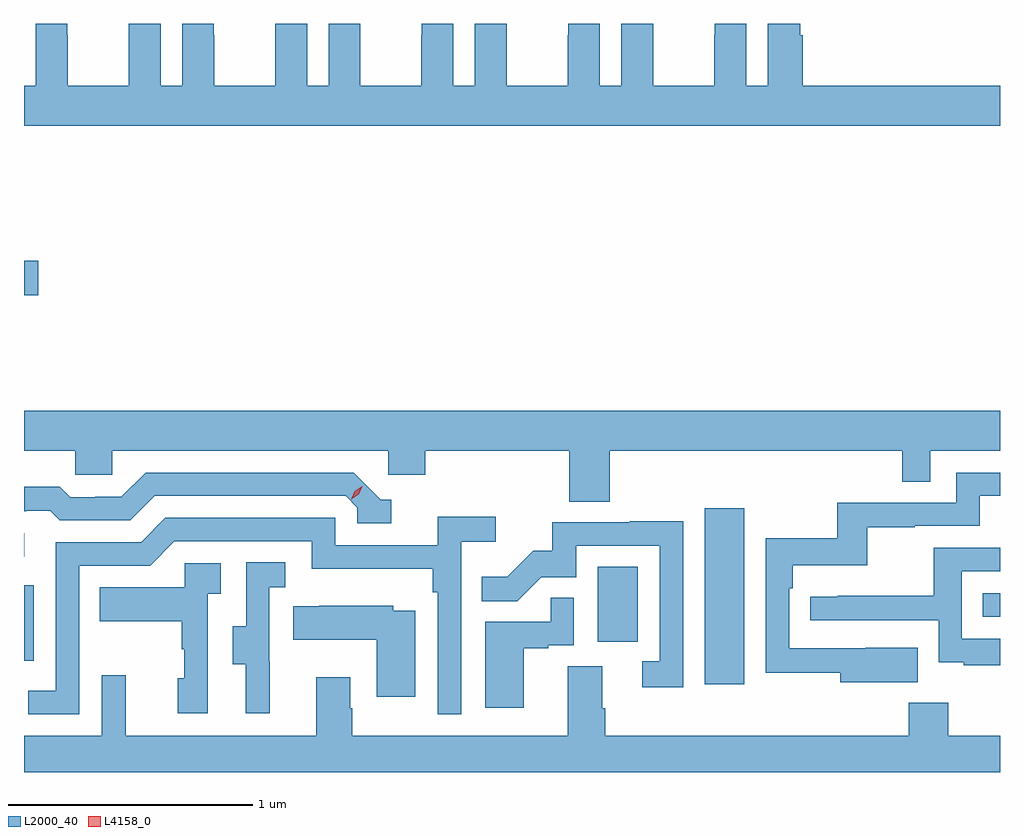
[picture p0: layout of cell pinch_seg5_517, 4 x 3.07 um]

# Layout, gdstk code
import gdstk
lib = gdstk.Library(unit=1e-6, precision=1e-09)
def R(c, l, rs):  # rectangles x0, y0, x1, y1
    for r in rs: c.add(gdstk.rectangle(r[:2], r[2:], *l))
def P(c, l, *ps):  # polygons
    for p in ps: c.add(gdstk.Polygon(p, *l))
L2000_40 = (2000, 40)
L4158_0 = (4158, 0)

pinch_seg5_517 = lib.new_cell('pinch_seg5_517')
R(pinch_seg5_517, L2000_40, [(926.594,833.16,926.755,833.881), (923.804,833.256,923.844,833.566), (926.156,833.334,926.32,833.641), (927.733,833.436,927.804,833.532), (923.804,833.682,923.806,833.778), (923.804,834.754,923.863,834.896)])
P(pinch_seg5_517, L2000_40, [(924.452,835.866),(924.452,835.612),(924.364,835.612),(924.364,835.866),(924.234,835.866),(924.234,835.82),(924.233,835.82),(924.233,835.612),(923.983,835.612),(923.983,835.82),(923.982,835.82),(923.982,835.866),(923.852,835.866),(923.852,835.612),(923.804,835.612),(923.804,835.448),(927.804,835.448),(927.804,835.612),(926.996,835.612),(926.996,835.82),(926.986,835.82),(926.986,835.866),(926.852,835.866),(926.852,835.612),(926.764,835.612),(926.764,835.866),(926.634,835.866),(926.634,835.82),(926.633,835.82),(926.633,835.612),(926.383,835.612),(926.383,835.82),(926.382,835.82),(926.382,835.866),(926.252,835.866),(926.252,835.612),(926.164,835.612),(926.164,835.866),(926.034,835.866),(926.034,835.82),(926.033,835.82),(926.033,835.612),(925.783,835.612),(925.783,835.82),(925.782,835.82),(925.782,835.866),(925.652,835.866),(925.652,835.612),(925.564,835.612),(925.564,835.866),(925.434,835.866),(925.434,835.82),(925.433,835.82),(925.433,835.612),(925.183,835.612),(925.183,835.82),(925.182,835.82),(925.182,835.866),(925.052,835.866),(925.052,835.612),(924.964,835.612),(924.964,835.866),(924.834,835.866),(924.834,835.82),(924.833,835.82),(924.833,835.612),(924.583,835.612),(924.583,835.82),(924.582,835.82),(924.582,835.866)],
  [(926.204,834.116),(927.403,834.116),(927.403,833.989),(927.519,833.989),(927.519,834.116),(927.804,834.116),(927.804,834.28),(923.804,834.28),(923.804,834.116),(924.015,834.116),(924.015,834.018),(924.165,834.018),(924.165,834.116),(925.296,834.116),(925.296,834.018),(925.448,834.018),(925.448,834.116),(926.039,834.116),(926.039,833.908),(926.204,833.908)],
  [(927.467,833.308),(927.253,833.308),(927.253,833.307),(926.94,833.307),(926.94,833.552),(926.954,833.552),(926.954,833.648),(927.259,833.648),(927.259,833.803),(927.455,833.803),(927.455,833.808),(927.72,833.808),(927.72,833.931),(927.804,833.931),(927.804,834.027),(927.624,834.027),(927.624,833.904),(927.138,833.904),(927.138,833.758),(926.844,833.758),(926.844,833.206),(927.149,833.206),(927.149,833.168),(927.467,833.168)],
  [(925.309,833.916),(925.266,833.916),(925.155,834.027),(924.302,834.027),(924.203,833.928),(924.096,833.928),(924.096,833.925),(923.993,833.925),(923.951,833.968),(923.804,833.968),(923.804,833.868),(923.813,833.868),(923.813,833.871),(923.912,833.871),(923.951,833.832),(924.24,833.832),(924.339,833.931),(925.122,833.931),(925.17,833.883),(925.17,833.82),(925.309,833.82)],
  [(924.03,833.646),(924.321,833.646),(924.42,833.745),(924.984,833.745),(924.984,833.633),(925.48,833.633),(925.48,833.537),(925.5,833.537),(925.5,833.037),(925.596,833.037),(925.596,833.744),(925.738,833.744),(925.738,833.846),(925.499,833.846),(925.499,833.73),(925.08,833.73),(925.08,833.841),(924.383,833.841),(924.284,833.742),(923.934,833.742),(923.934,833.133),(923.821,833.133),(923.821,833.037),(924.03,833.037)],
  [(926.505,833.828),(926.287,833.828),(926.287,833.823),(925.969,833.823),(925.969,833.706),(925.892,833.706),(925.785,833.599),(925.681,833.599),(925.681,833.5),(925.825,833.5),(925.923,833.598),(926.067,833.598),(926.067,833.727),(926.409,833.727),(926.409,833.253),(926.337,833.253),(926.337,833.148),(926.505,833.148)],
  [(927.804,833.346),(927.648,833.346),(927.648,833.622),(927.804,833.622),(927.804,833.718),(927.532,833.718),(927.532,833.522),(927.139,833.522),(927.139,833.517),(927.027,833.517),(927.027,833.421),(927.552,833.421),(927.552,833.249),(927.655,833.249),(927.655,833.238),(927.804,833.238)],
  [(924.812,833.253),(924.81,833.253),(924.81,833.557),(924.874,833.557),(924.874,833.66),(924.714,833.66),(924.714,833.397),(924.659,833.397),(924.659,833.242),(924.713,833.242),(924.713,833.04),(924.812,833.04)],
  [(924.558,833.531),(924.61,833.531),(924.61,833.655),(924.462,833.655),(924.462,833.557),(924.115,833.557),(924.115,833.417),(924.45,833.417),(924.45,833.303),(924.46,833.303),(924.46,833.184),(924.434,833.184),(924.434,833.04),(924.558,833.04)],
  [(925.852,833.307),(925.952,833.307),(925.952,833.319),(926.058,833.319),(926.058,833.513),(925.963,833.513),(925.963,833.415),(925.694,833.415),(925.694,833.064),(925.852,833.064)],
  [(925.408,833.461),(925.317,833.461),(925.317,833.482),(925.015,833.482),(925.015,833.479),(924.907,833.479),(924.907,833.342),(925.25,833.342),(925.25,833.109),(925.408,833.109)],
  [(927.804,832.948),(927.591,832.948),(927.591,833.083),(927.431,833.083),(927.431,832.948),(926.186,832.948),(926.186,833.06),(926.173,833.06),(926.173,833.234),(926.033,833.234),(926.033,832.948),(925.149,832.948),(925.149,833.06),(925.141,833.06),(925.141,833.188),(925.001,833.188),(925.001,832.948),(924.221,832.948),(924.221,833.197),(924.123,833.197),(924.123,832.948),(923.804,832.948),(923.804,832.799),(927.804,832.799)])
P(pinch_seg5_517, L4158_0, [(925.145,833.918),(925.145,833.918),(925.16,833.951),(925.19,833.971),(925.191,833.971),(925.191,833.971),(925.176,833.938),(925.145,833.918)])

lib.write_gds('pinch_seg5_517.gds')
